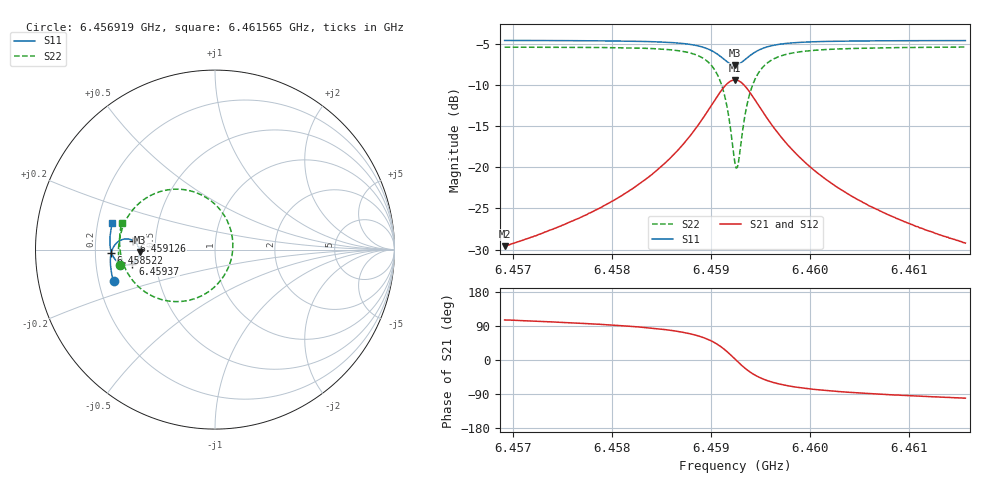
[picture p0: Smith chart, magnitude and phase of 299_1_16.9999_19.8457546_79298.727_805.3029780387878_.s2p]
#  HZ  S  RI  R  50.00
! Rohde & Schwarz Vector Network Analyzer
! Rohde-Schwarz,ZNB20-2Port,1311601062101988,3.16
! Created: UTC 3/20/2024, 11:05:25 PM
! freq[Hz]  re:S11  im:S11  re:S21  im:S21  re:S12  im:S12  re:S22  im:S22
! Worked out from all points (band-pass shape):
!   401 points, 6.456919 GHz to 6.461565 GHz, reference 50 ohm
!   highest |S21| = -9.35 dB at 6.459242 GHz (marker M1); lowest = -29.6 dB at 6.456919 GHz (marker M2)
!   |S21| within 3 dB of the highest: 6.459009 GHz to 6.459474 GHz (464.4 kHz wide, 0.00719 % of centre)
!   lowest |S11| = -7.5 dB at 6.459242 GHz (marker M3), VSWR 2.44, Z = 20.5 - j0.635 ohm
!   |S11| at or under -10 dB: nowhere
!   |S22| runs from -20.1 to -5.3 dB; largest |S21 - S12| = 0.013
!   S11 on the Smith chart (normalised r, x): 6.456919 GHz: 0.26, -0.14; 6.458522 GHz: 0.27, -0.01; 6.459126 GHz: 0.37, +0.05; 6.45937 GHz: 0.37, -0.07; 6.461565 GHz: 0.26, +0.12
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6.4569188e9  -0.5651 -0.177  -0.00899 0.0319  -0.00733 0.0319  -0.5317 -0.0875
6.457697e9  -0.5799 -0.1092  -0.00575 0.0496  -0.00328 0.0491  -0.5376 0.00238
6.4581268e9  -0.5831 -0.0664  -0.000207 0.069  0.00319 0.0677  -0.5299 0.0694
6.4584753e9  -0.5796 -0.0249  0.0136 0.0976  0.0175 0.0949  -0.5051 0.1466
6.4585217e9  -0.5782 -0.0187  0.0169 0.1028  0.0209 0.1  -0.4989 0.1593
6.4587308e9  -0.5663 0.0133  0.0427 0.1342  0.0468 0.1296  -0.4508 0.2303
6.4588818e9  -0.5452 0.0396  0.0847 0.1644  0.0881 0.1579  -0.3734 0.2935
6.4590328e9  -0.4994 0.0595  0.1757 0.1832  0.1767 0.176  -0.2081 0.3368
6.4591257e9  -0.4551 0.0495  0.2646 0.1525  0.2649 0.1466  -0.0446 0.2873
6.4591722e9  -0.434 0.0309  0.3077 0.1103  0.3088 0.1049  0.0367 0.212
6.4592419e9  -0.4192 -0.0128  0.3406 0.0146  0.3439 0.0077  0.0995 0.0355
6.4592535e9  -0.4196 -0.0207  0.3404 -0.00291  0.3439 -0.0105  0.099 0.0026
6.4592767e9  -0.423 -0.0363  0.3347 -0.0372  0.3385 -0.0462  0.088 -0.0617
6.4593348e9  -0.4436 -0.067  0.2972 -0.108  0.2985 -0.1202  0.0119 -0.1941
6.4593696e9  -0.4603 -0.0782  0.2654 -0.1366  0.2644 -0.1495  -0.0519 -0.2451
6.4594626e9  -0.5033 -0.0849  0.1821 -0.1675  0.1758 -0.1786  -0.2168 -0.2898
6.4596136e9  -0.5468 -0.0646  0.0954 -0.1541  0.087 -0.1601  -0.3809 -0.2415
6.4597762e9  -0.5684 -0.0371  0.051 -0.1267  0.0436 -0.1294  -0.4596 -0.1707
6.4600201e9  -0.581 -0.00158  0.0222 -0.0957  0.0165 -0.0963  -0.5067 -0.0897
6.4603686e9  -0.5856 0.0396  0.00626 -0.0694  0.00242 -0.069  -0.5279 -0.0114
6.4607983e9  -0.5838 0.0826  -0.00139 -0.0511  -0.00413 -0.0503  -0.5319 0.0562
6.4615649e9  -0.5717 0.1503  -0.00642 -0.034  -0.00803 -0.0332  -0.5202 0.1456
